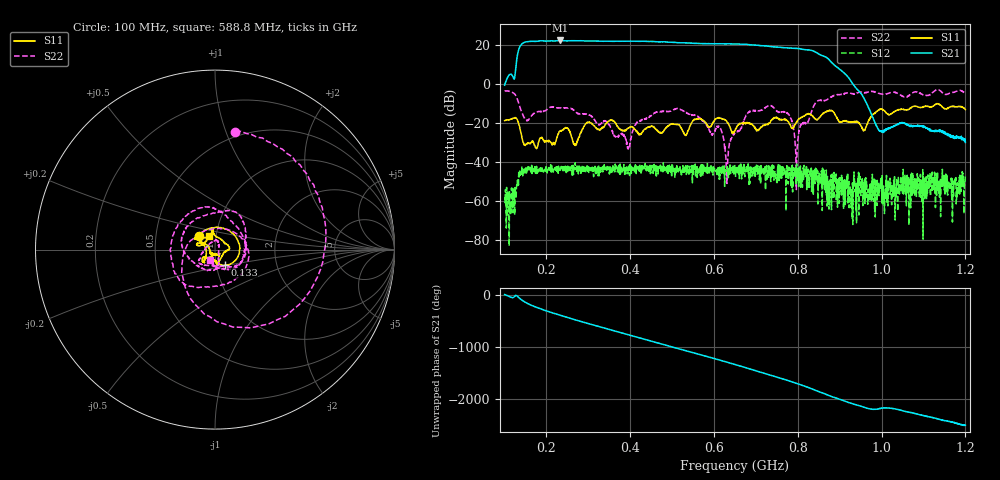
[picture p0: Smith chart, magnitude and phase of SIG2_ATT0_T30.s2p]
# Hz S DB R 50
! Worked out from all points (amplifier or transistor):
!   1601 points, 100 MHz to 1.2 GHz, reference 50 ohm
!   highest |S21| = 22.4 dB at 232 MHz (marker M1)
!   |S21| within 3 dB of that: 136.9 MHz to 731 MHz (594 MHz wide, 137 % of centre)
!   unconditionally stable (mu >= 1): start of sweep to end of sweep
!   at 282.9 MHz: K = 5.08, MAG = 22.4 dB, |S12| = -42.6 dB
!   at 650 MHz: K = 7.65, MAG = 20.6 dB, |S12| = -44.3 dB
!   at 1.2 GHz: K = 2013.93, MAG = -27.8 dB, |S12| = -46.4 dB
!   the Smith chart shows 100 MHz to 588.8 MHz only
!   S11 on the Smith chart (normalised r, x): 100 MHz: 0.83, +0.13; 133 MHz: 1.10, -0.19; 588.8 MHz: 0.93, +0.14
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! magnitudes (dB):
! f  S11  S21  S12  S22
! 100 MHz  -18.6  -0.5  -58.5  -3.5
! 115.1 MHz  -18.0  5.1  -61.8  -3.9
! 133 MHz  -19.9  17.3  -52.3  -9.4
! 149.5 MHz  -31.4  21.6  -45.3  -18.1
! 232 MHz  -23.9  22.4  -43.2  -12.1
! 267.8 MHz  -31.2  22.3  -42.1  -13.9
! 283.6 MHz  -24.3  22.2  -44.9  -15.2
! 395.6 MHz  -22.6  22.0  -43.4  -33.1
! 416.2 MHz  -24.6  22.0  -42.8  -19.3
! 467.1 MHz  -24.5  21.7  -42.3  -14.0
! 588.8 MHz  -21.9  20.8  -45.4  -23.7
! 614.9 MHz  -17.4  20.7  -45.0  -22.6
! 630.8 MHz  -19.4  20.7  -42.2  -50.9
! 650 MHz  -23.9  20.6  -44.3  -25.0
! 734.6 MHz  -19.2  19.3  -42.2  -10.9
! 779.2 MHz  -20.0  18.6  -42.9  -15.8
! 797.1 MHz  -19.3  18.3  -40.9  -40.3
! 833.6 MHz  -16.1  17.3  -48.1  -13.5
! 957.3 MHz  -23.6  -7.0  -50.6  -4.3
! 993.1 MHz  -13.2  -23.5  -50.1  -4.7
! 1.017 GHz  -15.6  -22.7  -52.6  -4.6
! 1.2 GHz  -13.0  -29.9  -46.4  -4.6
